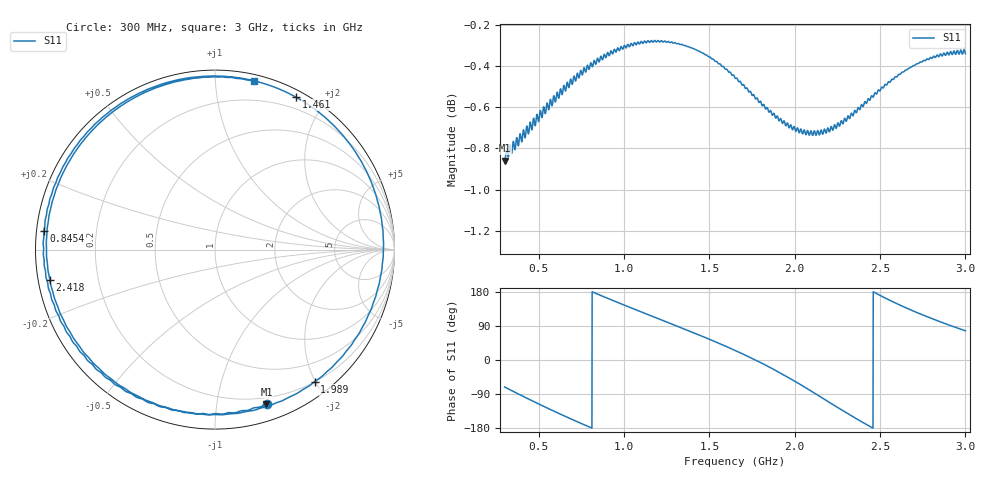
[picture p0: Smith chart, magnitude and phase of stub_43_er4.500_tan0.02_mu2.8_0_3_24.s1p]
! Chirptenna · simulación 3D de un stub abierto
# HZ S RI R 50
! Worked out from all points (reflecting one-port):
!   2001 points, 300 MHz to 3 GHz, reference 50 ohm
!   lowest |S11| = -0.9 dB at 301.4 MHz (marker M1), VSWR 20.23, Z = 7.19 - j68.9 ohm
!   phase of S11 starts at -71 deg and turns -572 deg over the sweep
!   S11 on the Smith chart (normalised r, x): 300 MHz: 0.14, -1.38; 845.4 MHz: 0.02, +0.05; 1.461 GHz: 0.07, +1.66; 1.989 GHz: 0.20, -1.99; 2.418 GHz: 0.03, -0.09; 3 GHz: 0.05, +1.26
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3e8  0.2902 -0.8583
3.0135e8  0.2864 -0.8593
3.81e8  0.00469 -0.9134
4.593e8  -0.2721 -0.8805
5.376e8  -0.5222 -0.7695
6.375e8  -0.7703 -0.5385
7.374e8  -0.9173 -0.2431
8.454e8  -0.9536 0.1035
9.75e8  -0.8316 0.4869
1.1505e9  -0.4537 0.8548
1.3125e9  0.015 0.967
1.461e9  0.4504 0.8501
1.55145e9  0.6769 0.6757
1.65e9  0.8572 0.4065
1.73775e9  0.9347 0.1141
1.8255e9  0.91 -0.2062
1.9065e9  0.7845 -0.4927
1.9875e9  0.5585 -0.7331
1.98885e9  0.5544 -0.7364
2.08065e9  0.1941 -0.8992
2.15895e9  -0.1533 -0.9076
2.23995e9  -0.492 -0.7805
2.325e9  -0.7639 -0.527
2.41815e9  -0.9203 -0.1669
2.5329e9  -0.9035 0.2776
2.6625e9  -0.6803 0.668
2.8245e9  -0.2588 0.9241
3e9  0.2164 0.937
